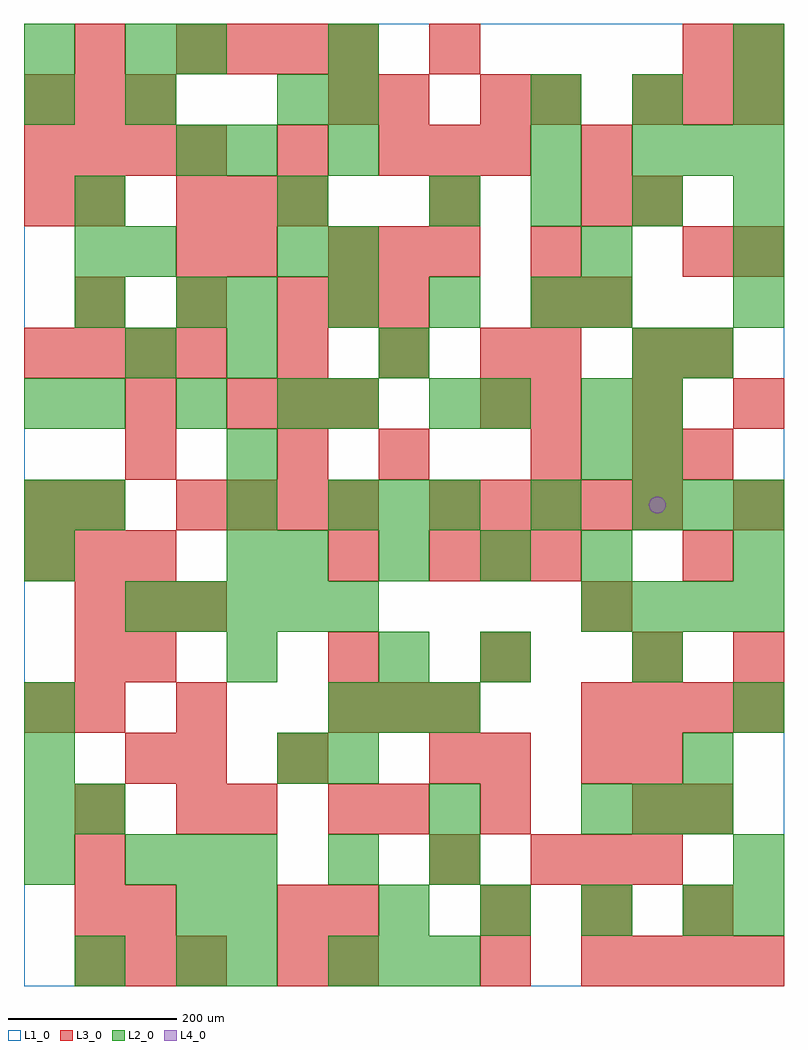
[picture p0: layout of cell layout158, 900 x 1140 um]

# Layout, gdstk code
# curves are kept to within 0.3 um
import gdstk
lib = gdstk.Library(unit=1e-6, precision=1e-09)
def R(c, l, rs):  # rectangles x0, y0, x1, y1
    for r in rs: c.add(gdstk.rectangle(r[:2], r[2:], *l))
def A(c, l, x, y, w, h, nx, ny, dx, dy):  # array of equal rectangles
    R(c, l, [(x+i*dx, y+j*dy, x+i*dx+w, y+j*dy+h) for i in range(nx) for j in range(ny)])
def P(c, l, *ps):  # polygons
    for p in ps: c.add(gdstk.Polygon(p, *l))
L1_0 = (1, 0)
L2_0 = (2, 0)
L3_0 = (3, 0)
L4_0 = (4, 0)

layout158 = lib.new_cell('layout158')
R(layout158, L1_0, [(0,0,900,1140)])
A(layout158, L2_0, 360, 0, 60, 60, 3, 2, 60, 300)
A(layout158, L2_0, 420, 60, 60, 60, 4, 1, 120, 0)
A(layout158, L2_0, 0, 120, 60, 60, 1, 4, 0, 60)
A(layout158, L2_0, 120, 120, 60, 60, 3, 1, 60, 0)
A(layout158, L2_0, 840, 120, 60, 60, 1, 3, 0, 180)
A(layout158, L2_0, 660, 180, 60, 60, 3, 1, 60, 0)
A(layout158, L2_0, 120, 420, 60, 60, 5, 1, 60, 0)
A(layout158, L2_0, 660, 420, 60, 60, 4, 1, 60, 0)
A(layout158, L2_0, 240, 480, 60, 60, 1, 3, 0, 60)
A(layout158, L2_0, 300, 480, 60, 60, 4, 1, 120, 0)
A(layout158, L2_0, 360, 540, 60, 60, 3, 1, 60, 0)
A(layout158, L2_0, 720, 540, 60, 60, 3, 2, 60, 420)
A(layout158, L2_0, 720, 600, 60, 60, 1, 3, 0, 60)
A(layout158, L2_0, 60, 660, 60, 60, 3, 1, 120, 0)
A(layout158, L2_0, 60, 780, 60, 60, 1, 3, 0, 60)
A(layout158, L2_0, 240, 780, 60, 60, 4, 1, 120, 0)
A(layout158, L2_0, 480, 900, 60, 60, 4, 1, 120, 0)
A(layout158, L2_0, 360, 960, 60, 60, 1, 3, 0, 60)
A(layout158, L2_0, 600, 1020, 60, 60, 3, 1, 120, 0)
R(layout158, L2_0, [(60,0,120,60), (180,0,240,60), (240,0,300,60), (180,60,240,120), (240,60,300,120), (840,60,900,120), (360,120,420,180), (480,120,540,180), (60,180,120,240), (480,180,540,240), (300,240,360,300), (360,240,420,300), (780,240,840,300), (240,360,300,420), (420,360,480,420), (540,360,600,420), (720,360,780,420), (0,480,60,540), (0,540,60,600), (60,540,120,600), (600,540,660,600), (660,600,720,660), (0,660,60,720), (360,660,420,720), (480,660,540,720), (540,660,600,720), (660,660,720,720), (120,720,180,780), (240,720,300,780), (420,720,480,780), (780,720,840,780), (180,780,240,840), (660,780,720,840), (840,780,900,840), (120,840,180,900), (300,840,360,900), (360,840,420,900), (660,840,720,900), (840,840,900,900), (300,900,360,960), (180,960,240,1020), (240,960,300,1020), (600,960,660,1020), (0,1020,60,1080), (120,1020,180,1080), (300,1020,360,1080), (0,1080,60,1140), (120,1080,180,1140), (180,1080,240,1140), (840,1080,900,1140)])
A(layout158, L3_0, 60, 0, 60, 60, 3, 2, 60, 420)
A(layout158, L3_0, 660, 0, 60, 60, 4, 2, 60, 300)
A(layout158, L3_0, 60, 60, 60, 60, 1, 3, 0, 60)
A(layout158, L3_0, 540, 60, 60, 60, 3, 1, 120, 0)
A(layout158, L3_0, 600, 120, 60, 60, 3, 1, 60, 0)
A(layout158, L3_0, 180, 180, 60, 60, 1, 3, 0, 60)
A(layout158, L3_0, 360, 180, 60, 60, 1, 3, 0, 300)
A(layout158, L3_0, 300, 240, 60, 60, 1, 3, 0, 360)
A(layout158, L3_0, 360, 300, 60, 60, 3, 2, 60, 540)
A(layout158, L3_0, 360, 360, 60, 60, 3, 1, 180, 0)
A(layout158, L3_0, 0, 480, 60, 60, 3, 2, 60, 540)
A(layout158, L3_0, 480, 480, 60, 60, 3, 1, 60, 0)
A(layout158, L3_0, 780, 480, 60, 60, 1, 4, 0, 120)
A(layout158, L3_0, 180, 540, 60, 60, 4, 2, 60, 540)
A(layout158, L3_0, 480, 540, 60, 60, 5, 1, 60, 0)
A(layout158, L3_0, 240, 660, 60, 60, 3, 1, 60, 0)
A(layout158, L3_0, 600, 660, 60, 60, 3, 1, 120, 0)
A(layout158, L3_0, 0, 720, 60, 60, 4, 2, 60, 240)
A(layout158, L3_0, 300, 720, 60, 60, 3, 1, 120, 0)
A(layout158, L3_0, 600, 720, 60, 60, 1, 3, 0, 60)
A(layout158, L3_0, 60, 780, 60, 60, 3, 1, 120, 0)
A(layout158, L3_0, 180, 900, 60, 60, 3, 1, 60, 0)
A(layout158, L3_0, 420, 960, 60, 60, 3, 1, 60, 0)
A(layout158, L3_0, 720, 1020, 60, 60, 3, 1, 60, 0)
R(layout158, L3_0, [(300,0,360,60), (360,0,420,60), (540,0,600,60), (120,60,180,120), (300,60,360,120), (360,60,420,120), (480,120,540,180), (240,180,300,240), (420,180,480,240), (540,180,600,240), (720,180,780,240), (780,180,840,240), (120,240,180,300), (480,240,540,300), (540,240,600,300), (660,240,720,300), (720,240,780,300), (0,300,60,360), (60,300,120,360), (60,360,120,420), (120,360,180,420), (840,360,900,420), (660,420,720,480), (0,540,60,600), (60,540,120,600), (840,540,900,600), (120,600,180,660), (420,600,480,660), (600,600,660,660), (720,600,780,660), (120,660,180,720), (540,660,600,720), (720,720,780,780), (420,780,480,840), (660,780,720,840), (180,840,240,900), (240,840,300,900), (840,840,900,900), (0,900,60,960), (60,900,120,960), (480,900,540,960), (660,900,720,960), (720,900,780,960), (660,960,720,1020), (360,1020,420,1080), (420,1020,480,1080), (540,1020,600,1080), (600,1020,660,1080), (60,1080,120,1140), (480,1080,540,1140), (780,1080,840,1140), (840,1080,900,1140)])
P(layout158, L4_0, [(760,570),(759.239,573.827),(757.071,577.071),(753.827,579.239),(750,580),(746.173,579.239),(742.929,577.071),(740.761,573.827),(740,570),(740.761,566.173),(742.929,562.929),(746.173,560.761),(750,560),(753.827,560.761),(757.071,562.929),(759.239,566.173)])

lib.write_gds('layout158.gds')
